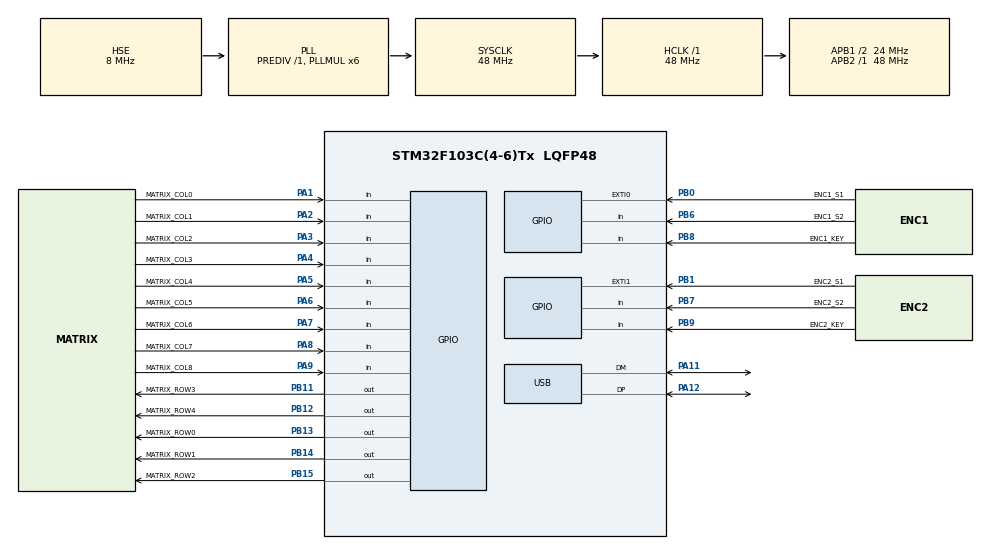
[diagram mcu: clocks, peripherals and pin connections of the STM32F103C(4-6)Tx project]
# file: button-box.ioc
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Mcu.Family=STM32F1
Mcu.Name=STM32F103C(4-6)Tx
Mcu.Package=LQFP48
NVIC.EXTI0_IRQn=true\:0\:0\:false\:false\:true\:true\:true\:true
NVIC.EXTI1_IRQn=true\:0\:0\:false\:false\:true\:true\:true\:true
NVIC.PriorityGroup=NVIC_PRIORITYGROUP_4
NVIC.USB_LP_CAN1_RX0_IRQn=true\:0\:0\:false\:false\:true\:false\:true\:true
PA1.GPIO_Label=MATRIX_COL0
PA1.GPIO_PuPd=GPIO_PULLUP
PA1.Signal=GPIO_Input
PA11.Mode=Device
PA11.Signal=USB_DM
PA12.Mode=Device
PA12.Signal=USB_DP
PA13.Mode=Serial_Wire
PA13.Signal=SYS_JTMS-SWDIO
PA14.Mode=Serial_Wire
PA14.Signal=SYS_JTCK-SWCLK
PA2.GPIO_Label=MATRIX_COL1
PA2.GPIO_PuPd=GPIO_PULLUP
PA2.Signal=GPIO_Input
PA3.GPIO_Label=MATRIX_COL2
PA3.GPIO_PuPd=GPIO_PULLUP
PA3.Signal=GPIO_Input
PA4.GPIO_Label=MATRIX_COL3
PA4.GPIO_PuPd=GPIO_PULLUP
PA4.Signal=GPIO_Input
PA5.GPIO_Label=MATRIX_COL4
PA5.GPIO_PuPd=GPIO_PULLUP
PA5.Signal=GPIO_Input
PA6.GPIO_Label=MATRIX_COL5
PA6.GPIO_PuPd=GPIO_PULLUP
PA6.Signal=GPIO_Input
PA7.GPIO_Label=MATRIX_COL6
PA7.GPIO_PuPd=GPIO_PULLUP
PA7.Signal=GPIO_Input
PA8.GPIO_Label=MATRIX_COL7
PA8.GPIO_PuPd=GPIO_PULLUP
PA8.Signal=GPIO_Input
PA9.GPIO_Label=MATRIX_COL8
PA9.GPIO_PuPd=GPIO_PULLUP
PA9.Signal=GPIO_Input
PB0.GPIO_Label=ENC1_S1
PB0.GPIO_ModeDefaultEXTI=GPIO_MODE_IT_FALLING
PB0.GPIO_PuPd=GPIO_PULLUP
PB0.Signal=GPXTI0
PB1.GPIO_Label=ENC2_S1
PB1.GPIO_ModeDefaultEXTI=GPIO_MODE_IT_FALLING
PB1.GPIO_PuPd=GPIO_PULLUP
PB1.Signal=GPXTI1
PB11.GPIO_Label=MATRIX_ROW3
PB11.GPIO_ModeDefaultOutputPP=GPIO_MODE_OUTPUT_OD
PB11.GPIO_PuPd=GPIO_NOPULL
PB11.PinState=GPIO_PIN_SET
PB11.Signal=GPIO_Output
PB12.GPIO_Label=MATRIX_ROW4
PB12.GPIO_ModeDefaultOutputPP=GPIO_MODE_OUTPUT_OD
PB12.GPIO_PuPd=GPIO_NOPULL
PB12.PinState=GPIO_PIN_SET
PB12.Signal=GPIO_Output
PB13.GPIO_Label=MATRIX_ROW0
PB13.GPIO_ModeDefaultOutputPP=GPIO_MODE_OUTPUT_OD
PB13.GPIO_PuPd=GPIO_NOPULL
PB13.PinState=GPIO_PIN_SET
PB13.Signal=GPIO_Output
PB14.GPIO_Label=MATRIX_ROW1
PB14.GPIO_ModeDefaultOutputPP=GPIO_MODE_OUTPUT_OD
PB14.GPIO_PuPd=GPIO_NOPULL
PB14.PinState=GPIO_PIN_SET
PB14.Signal=GPIO_Output
PB15.GPIO_Label=MATRIX_ROW2
PB15.GPIO_ModeDefaultOutputPP=GPIO_MODE_OUTPUT_OD
PB15.GPIO_PuPd=GPIO_NOPULL
PB15.PinState=GPIO_PIN_SET
PB15.Signal=GPIO_Output
PB6.GPIO_Label=ENC1_S2
PB6.GPIO_PuPd=GPIO_PULLUP
PB6.Signal=GPIO_Input
PB7.GPIO_Label=ENC2_S2
PB7.GPIO_PuPd=GPIO_PULLUP
PB7.Signal=GPIO_Input
PB8.GPIO_Label=ENC1_KEY
PB8.GPIO_PuPd=GPIO_PULLUP
PB8.Signal=GPIO_Input
PB9.GPIO_Label=ENC2_KEY
PB9.GPIO_PuPd=GPIO_PULLUP
PB9.Signal=GPIO_Input
PD0-OSC_IN.Mode=HSE-External-Oscillator
PD0-OSC_IN.Signal=RCC_OSC_IN
PD1-OSC_OUT.Mode=HSE-External-Oscillator
PD1-OSC_OUT.Signal=RCC_OSC_OUT
ProjectManager.HeapSize=0x200
ProjectManager.StackSize=0x400
ProjectManager.TargetToolchain=STM32CubeIDE
RCC.AHBFreq_Value=48000000
RCC.APB1CLKDivider=RCC_HCLK_DIV2
RCC.APB1Freq_Value=24000000
RCC.APB1TimFreq_Value=48000000
RCC.APB2Freq_Value=48000000
RCC.APB2TimFreq_Value=48000000
RCC.HCLKFreq_Value=48000000
RCC.PLLMUL=RCC_PLL_MUL6
RCC.PLLSourceVirtual=RCC_PLLSOURCE_HSE
RCC.SYSCLKFreq_VALUE=48000000
RCC.SYSCLKSource=RCC_SYSCLKSOURCE_PLLCLK
RCC.USBFreq_Value=48000000
USB_DEVICE.CLASS_NAME_FS=HID
USB_DEVICE.MANUFACTURER_STRING=Hypnotriod's Lab
USB_DEVICE.PRODUCT_STRING_HID_FS=Button Box
USB_DEVICE.VirtualMode=Hid
USB_DEVICE.VirtualModeFS=Hid_FS
VP_USB_DEVICE_VS_USB_DEVICE_HID_FS.Mode=HID_FS
board=custom

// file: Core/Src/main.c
/* USER CODE BEGIN Header */
/**
  ******************************************************************************
  * @file           : main.c
  * @brief          : Main program body
  ******************************************************************************
  * @attention
  *
  * Copyright (c) 2023 STMicroelectronics.
  * All rights reserved.
  *
  * This software is licensed under terms that can be found in the LICENSE file
  * in the root directory of this software component.
  * If no LICENSE file comes with this software, it is provided AS-IS.
  *
  ******************************************************************************
  */
/* USER CODE END Header */
#include "main.h"
#include "usb_device.h"
#include "gpio.h"

/* USER CODE BEGIN Includes */
#include "usbd_hid.h"
#include <stdbool.h>
/* USER CODE END Includes */

/* USER CODE BEGIN PTD */
typedef struct {
  int8_t joyX;
  int8_t joyY;
  uint8_t buttons1;
  uint8_t buttons2;
  uint8_t buttons3;
  uint8_t buttons4;
} report_t;
/* USER CODE END PTD */

/* USER CODE BEGIN PV */
extern USBD_HandleTypeDef hUsbDeviceFS;

static volatile uint8_t encoder1Left = 0;
static volatile uint8_t encoder2Left = 0;
static volatile uint8_t encoder1Right = 0;
static volatile uint8_t encoder2Right = 0;
/* USER CODE END PV */

void SystemClock_Config(void);

/* USER CODE BEGIN 0 */
void HAL_GPIO_EXTI_Callback(uint16_t GPIO_Pin)
{
  if (GPIO_Pin == ENC1_S1_Pin)
  {
    if (ENC1_S2_GPIO_Port->IDR & ENC1_S2_Pin)
      encoder1Left += 2;
    else
      encoder1Right += 2;
  }
  if (GPIO_Pin == ENC2_S1_Pin)
  {
    if (ENC2_S2_GPIO_Port->IDR & ENC2_S2_Pin)
      encoder2Left += 2;
    else
      encoder2Right += 2;
  }
}
/* USER CODE END 0 */

int main(void)
{
  /* USER CODE BEGIN 1 */
  report_t report;
  uint8_t e1l = 0;
  uint8_t e2l = 0;
  uint8_t e1r = 0;
  uint8_t e2r = 0;
  /* USER CODE END 1 */

  /* MCU Configuration--------------------------------------------------------*/

  /* Reset of all peripherals, Initializes the Flash interface and the Systick. */
  HAL_Init();

  /* Configure the system clock */
  SystemClock_Config();

  /* Initialize all configured peripherals */
  MX_GPIO_Init();
  MX_USB_DEVICE_Init();

  /* Infinite loop */
  /* USER CODE BEGIN WHILE */
  while (1)
  {
    report.joyX = 0;
    report.joyY = 0;
    report.buttons1 = 0;
    report.buttons2 = 0;
    report.buttons3 = 0;
    report.buttons4 = 0;

    HAL_GPIO_WritePin(MATRIX_ROW0_GPIO_Port, MATRIX_ROW0_Pin, GPIO_PIN_RESET);
    if (HAL_GPIO_ReadPin(MATRIX_COL0_GPIO_Port, MATRIX_COL0_Pin) == GPIO_PIN_RESET)
      report.buttons1 |= 0x01;
    if (HAL_GPIO_ReadPin(MATRIX_COL1_GPIO_Port, MATRIX_COL1_Pin) == GPIO_PIN_RESET)
      report.joyY = 127;
    if (HAL_GPIO_ReadPin(MATRIX_COL2_GPIO_Port, MATRIX_COL2_Pin) == GPIO_PIN_RESET)
      report.joyY = -127;
    if (HAL_GPIO_ReadPin(MATRIX_COL3_GPIO_Port, MATRIX_COL3_Pin) == GPIO_PIN_RESET)
      report.joyX = -127;
    if (HAL_GPIO_ReadPin(MATRIX_COL4_GPIO_Port, MATRIX_COL4_Pin) == GPIO_PIN_RESET)
      report.joyX = 127;
    if (HAL_GPIO_ReadPin(MATRIX_COL5_GPIO_Port, MATRIX_COL5_Pin) == GPIO_PIN_RESET)
      report.buttons1 |= 0x02;
    if (HAL_GPIO_ReadPin(MATRIX_COL6_GPIO_Port, MATRIX_COL6_Pin) == GPIO_PIN_RESET)
    	report.buttons1 |= 0x04;
    HAL_GPIO_WritePin(MATRIX_ROW0_GPIO_Port, MATRIX_ROW0_Pin, GPIO_PIN_SET);

    HAL_GPIO_WritePin(MATRIX_ROW1_GPIO_Port, MATRIX_ROW1_Pin, GPIO_PIN_RESET);
    if (HAL_GPIO_ReadPin(MATRIX_COL0_GPIO_Port, MATRIX_COL0_Pin) == GPIO_PIN_RESET)
      report.buttons1 |= 0x08;
    if (HAL_GPIO_ReadPin(MATRIX_COL1_GPIO_Port, MATRIX_COL1_Pin) == GPIO_PIN_RESET)
      report.buttons1 |= 0x10;
    if (HAL_GPIO_ReadPin(MATRIX_COL2_GPIO_Port, MATRIX_COL2_Pin) == GPIO_PIN_RESET)
      report.buttons1 |= 0x20;
    if (HAL_GPIO_ReadPin(MATRIX_COL3_GPIO_Port, MATRIX_COL3_Pin) == GPIO_PIN_RESET)
      report.buttons1 |= 0x40;
    if (HAL_GPIO_ReadPin(MATRIX_COL4_GPIO_Port, MATRIX_COL4_Pin) == GPIO_PIN_RESET)
      report.buttons1 |= 0x80;
    if (HAL_GPIO_ReadPin(MATRIX_COL5_GPIO_Port, MATRIX_COL5_Pin) == GPIO_PIN_RESET)
      report.buttons2 |= 0x01;
    if (HAL_GPIO_ReadPin(MATRIX_COL6_GPIO_Port, MATRIX_COL6_Pin) == GPIO_PIN_RESET)
      report.buttons2 |= 0x02;
    HAL_GPIO_WritePin(MATRIX_ROW1_GPIO_Port, MATRIX_ROW1_Pin, GPIO_PIN_SET);

    HAL_GPIO_WritePin(MATRIX_ROW2_GPIO_Port, MATRIX_ROW2_Pin, GPIO_PIN_RESET);
    if (HAL_GPIO_ReadPin(MATRIX_COL0_GPIO_Port, MATRIX_COL0_Pin) == GPIO_PIN_RESET)
      report.buttons2 |= 0x04;
    if (HAL_GPIO_ReadPin(MATRIX_COL1_GPIO_Port, MATRIX_COL1_Pin) == GPIO_PIN_RESET)
      report.buttons2 |= 0x08;
    if (HAL_GPIO_ReadPin(MATRIX_COL2_GPIO_Port, MATRIX_COL2_Pin) == GPIO_PIN_RESET)
      report.buttons2 |= 0x10;
    if (HAL_GPIO_ReadPin(MATRIX_COL3_GPIO_Port, MATRIX_COL3_Pin) == GPIO_PIN_RESET)
      report.buttons2 |= 0x20;
    if (HAL_GPIO_ReadPin(MATRIX_COL4_GPIO_Port, MATRIX_COL4_Pin) == GPIO_PIN_RESET)
      report.buttons2 |= 0x40;
    if (HAL_GPIO_ReadPin(MATRIX_COL5_GPIO_Port, MATRIX_COL5_Pin) == GPIO_PIN_RESET)
      report.buttons2 |= 0x80;
    if (HAL_GPIO_ReadPin(MATRIX_COL6_GPIO_Port, MATRIX_COL6_Pin) == GPIO_PIN_RESET)
      report.buttons3 |= 0x01;
    HAL_GPIO_WritePin(MATRIX_ROW2_GPIO_Port, MATRIX_ROW2_Pin, GPIO_PIN_SET);

    HAL_GPIO_WritePin(MATRIX_ROW3_GPIO_Port, MATRIX_ROW3_Pin, GPIO_PIN_RESET);
    if (HAL_GPIO_ReadPin(MATRIX_COL5_GPIO_Port, MATRIX_COL5_Pin) == GPIO_PIN_RESET)
      report.buttons3 |= 0x02;
    if (HAL_GPIO_ReadPin(MATRIX_COL6_GPIO_Port, MATRIX_COL6_Pin) == GPIO_PIN_RESET)
      report.buttons3 |= 0x04;
    HAL_GPIO_WritePin(MATRIX_ROW3_GPIO_Port, MATRIX_ROW3_Pin, GPIO_PIN_SET);

    HAL_GPIO_WritePin(MATRIX_ROW4_GPIO_Port, MATRIX_ROW4_Pin, GPIO_PIN_RESET);
    if (HAL_GPIO_ReadPin(MATRIX_COL7_GPIO_Port, MATRIX_COL7_Pin) == GPIO_PIN_RESET)
      report.buttons3 |= 0x08;
    if (HAL_GPIO_ReadPin(MATRIX_COL8_GPIO_Port, MATRIX_COL8_Pin) == GPIO_PIN_RESET)
      report.buttons3 |= 0x10;
    HAL_GPIO_WritePin(MATRIX_ROW4_GPIO_Port, MATRIX_ROW4_Pin, GPIO_PIN_SET);

    if (HAL_GPIO_ReadPin(ENC1_KEY_GPIO_Port, ENC1_KEY_Pin) == GPIO_PIN_RESET)
      report.buttons3 |= 0x20;
    if (HAL_GPIO_ReadPin(ENC2_KEY_GPIO_Port, ENC2_KEY_Pin) == GPIO_PIN_RESET)
      report.buttons3 |= 0x40;

    if (e1l != encoder1Left)
    {
      e1l++;
      if (e1l % 2)
        report.buttons3 |= 0x80;
    }
    if (e1r != encoder1Right)
    {
      e1r++;
      if (e1r % 2)
        report.buttons4 |= 0x01;
    }
    if (e2l != encoder2Left)
    {
      e2l++;
      if (e2l % 2)
        report.buttons4 |= 0x02;
    }
    if (e2r != encoder2Right)
    {
      e2r++;
      if (e2r % 2)
        report.buttons4 |= 0x04;
    }

    while (USBD_HID_GetState(&hUsbDeviceFS) != HID_IDLE) {};
    USBD_HID_SendReport(&hUsbDeviceFS, (uint8_t*) &report, sizeof(report_t));

    /* USER CODE END WHILE */

  }
}

void SystemClock_Config(void)
{
  RCC_OscInitTypeDef RCC_OscInitStruct = {0};
  RCC_ClkInitTypeDef RCC_ClkInitStruct = {0};
  RCC_PeriphCLKInitTypeDef PeriphClkInit = {0};

  /** Initializes the RCC Oscillators according to the specified parameters
  * in the RCC_OscInitTypeDef structure.
  */
  RCC_OscInitStruct.OscillatorType = RCC_OSCILLATORTYPE_HSE;
  RCC_OscInitStruct.HSEState = RCC_HSE_ON;
  RCC_OscInitStruct.HSEPredivValue = RCC_HSE_PREDIV_DIV1;
  RCC_OscInitStruct.HSIState = RCC_HSI_ON;
  RCC_OscInitStruct.PLL.PLLState = RCC_PLL_ON;
  RCC_OscInitStruct.PLL.PLLSource = RCC_PLLSOURCE_HSE;
  RCC_OscInitStruct.PLL.PLLMUL = RCC_PLL_MUL6;
  if (HAL_RCC_OscConfig(&RCC_OscInitStruct) != HAL_OK)
  {
    Error_Handler();
  }

  /** Initializes the CPU, AHB and APB buses clocks
  */
  RCC_ClkInitStruct.ClockType = RCC_CLOCKTYPE_HCLK|RCC_CLOCKTYPE_SYSCLK
                              |RCC_CLOCKTYPE_PCLK1|RCC_CLOCKTYPE_PCLK2;
  RCC_ClkInitStruct.SYSCLKSource = RCC_SYSCLKSOURCE_PLLCLK;
  RCC_ClkInitStruct.AHBCLKDivider = RCC_SYSCLK_DIV1;
  RCC_ClkInitStruct.APB1CLKDivider = RCC_HCLK_DIV2;
  RCC_ClkInitStruct.APB2CLKDivider = RCC_HCLK_DIV1;

  if (HAL_RCC_ClockConfig(&RCC_ClkInitStruct, FLASH_LATENCY_1) != HAL_OK)
  {
    Error_Handler();
  }
  PeriphClkInit.PeriphClockSelection = RCC_PERIPHCLK_USB;
  PeriphClkInit.UsbClockSelection = RCC_USBCLKSOURCE_PLL;
  if (HAL_RCCEx_PeriphCLKConfig(&PeriphClkInit) != HAL_OK)
  {
    Error_Handler();
  }
}

void Error_Handler(void)
{
  __disable_irq();
  while (1)
  {
  }
}
